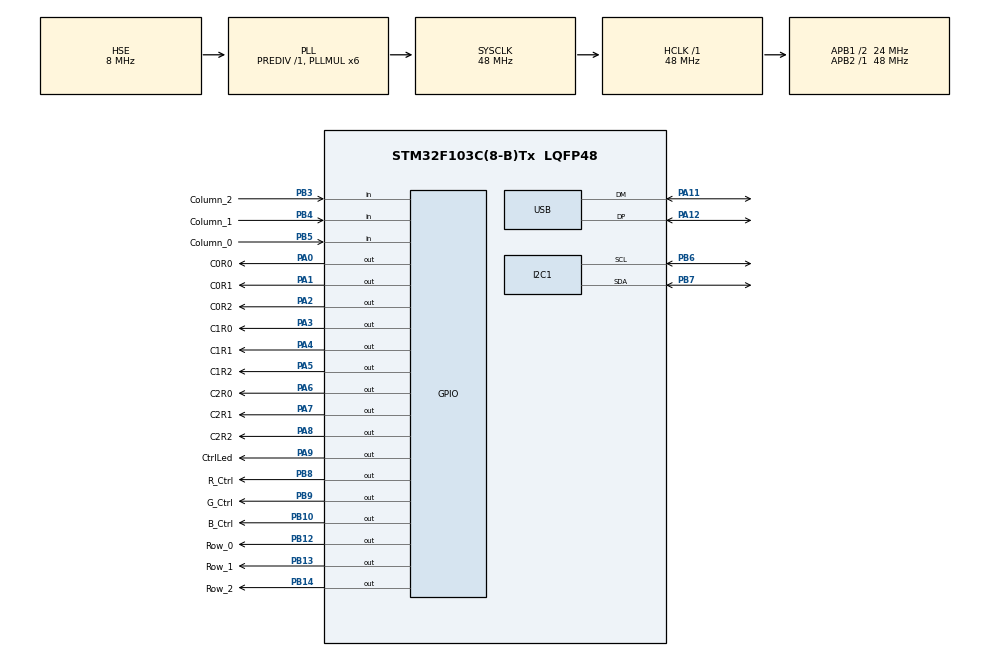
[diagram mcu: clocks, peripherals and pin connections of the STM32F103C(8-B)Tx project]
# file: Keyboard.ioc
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I2C1.I2C_Mode=I2C_Fast
Mcu.Family=STM32F1
Mcu.Name=STM32F103C(8-B)Tx
Mcu.Package=LQFP48
NVIC.PriorityGroup=NVIC_PRIORITYGROUP_4
NVIC.TIM1_UP_IRQn=true\:0\:0\:false\:false\:true\:true\:true
NVIC.USB_LP_CAN1_RX0_IRQn=true\:0\:0\:false\:false\:true\:false\:true
PA0-WKUP.GPIO_Label=C0R0
PA0-WKUP.GPIO_ModeDefaultOutputPP=GPIO_MODE_OUTPUT_PP
PA0-WKUP.GPIO_PuPd=GPIO_PULLDOWN
PA0-WKUP.PinState=GPIO_PIN_RESET
PA0-WKUP.Signal=GPIO_Output
PA1.GPIO_Label=C0R1
PA1.GPIO_PuPd=GPIO_PULLDOWN
PA1.Signal=GPIO_Output
PA11.Mode=Device
PA11.Signal=USB_DM
PA12.Mode=Device
PA12.Signal=USB_DP
PA13.Mode=Serial_Wire
PA13.Signal=SYS_JTMS-SWDIO
PA14.Mode=Serial_Wire
PA14.Signal=SYS_JTCK-SWCLK
PA2.GPIO_Label=C0R2
PA2.GPIO_PuPd=GPIO_PULLDOWN
PA2.Signal=GPIO_Output
PA3.GPIO_Label=C1R0
PA3.GPIO_ModeDefaultOutputPP=GPIO_MODE_OUTPUT_PP
PA3.GPIO_PuPd=GPIO_PULLDOWN
PA3.PinState=GPIO_PIN_RESET
PA3.Signal=GPIO_Output
PA4.GPIO_Label=C1R1
PA4.GPIO_PuPd=GPIO_PULLDOWN
PA4.Signal=GPIO_Output
PA5.GPIO_Label=C1R2
PA5.GPIO_PuPd=GPIO_PULLDOWN
PA5.Signal=GPIO_Output
PA6.GPIO_Label=C2R0
PA6.GPIO_PuPd=GPIO_PULLDOWN
PA6.Signal=GPIO_Output
PA7.GPIO_Label=C2R1
PA7.GPIO_PuPd=GPIO_PULLDOWN
PA7.Signal=GPIO_Output
PA8.GPIO_Label=C2R2
PA8.GPIO_PuPd=GPIO_PULLDOWN
PA8.Signal=GPIO_Output
PA9.GPIO_Label=CtrlLed
PA9.GPIO_PuPd=GPIO_PULLDOWN
PA9.Signal=GPIO_Output
PB10.GPIO_Label=B_Ctrl
PB10.GPIO_PuPd=GPIO_PULLDOWN
PB10.PinState=GPIO_PIN_RESET
PB10.Signal=GPIO_Output
PB12.GPIO_Label=Row_0
PB12.GPIO_PuPd=GPIO_PULLUP
PB12.Signal=GPIO_Output
PB13.GPIO_Label=Row_1
PB13.GPIO_PuPd=GPIO_PULLUP
PB13.PinState=GPIO_PIN_RESET
PB13.Signal=GPIO_Output
PB14.GPIO_Label=Row_2
PB14.GPIO_PuPd=GPIO_PULLUP
PB14.Signal=GPIO_Output
PB3.GPIO_Label=Column_2
PB3.GPIO_PuPd=GPIO_PULLDOWN
PB3.Signal=GPIO_Input
PB4.GPIO_Label=Column_1
PB4.GPIO_PuPd=GPIO_PULLDOWN
PB4.Signal=GPIO_Input
PB5.GPIO_Label=Column_0
PB5.GPIO_PuPd=GPIO_PULLDOWN
PB5.Signal=GPIO_Input
PB6.Mode=I2C
PB6.Signal=I2C1_SCL
PB7.Mode=I2C
PB7.Signal=I2C1_SDA
PB8.GPIO_Label=R_Ctrl
PB8.GPIO_PuPd=GPIO_PULLDOWN
PB8.PinState=GPIO_PIN_RESET
PB8.Signal=GPIO_Output
PB9.GPIO_Label=G_Ctrl
PB9.GPIO_PuPd=GPIO_PULLDOWN
PB9.PinState=GPIO_PIN_RESET
PB9.Signal=GPIO_Output
PD0-OSC_IN.Mode=HSE-External-Oscillator
PD0-OSC_IN.Signal=RCC_OSC_IN
PD1-OSC_OUT.Mode=HSE-External-Oscillator
PD1-OSC_OUT.Signal=RCC_OSC_OUT
ProjectManager.HeapSize=0x200
ProjectManager.StackSize=0x400
ProjectManager.TargetToolchain=STM32CubeIDE
RCC.AHBFreq_Value=48000000
RCC.APB1CLKDivider=RCC_HCLK_DIV2
RCC.APB1Freq_Value=24000000
RCC.APB1TimFreq_Value=48000000
RCC.APB2Freq_Value=48000000
RCC.APB2TimFreq_Value=48000000
RCC.HCLKFreq_Value=48000000
RCC.PLLMUL=RCC_PLL_MUL6
RCC.SYSCLKFreq_VALUE=48000000
RCC.SYSCLKSource=RCC_SYSCLKSOURCE_PLLCLK
RCC.USBFreq_Value=48000000
TIM1.Period=1
TIM1.Prescaler=48000
USB_DEVICE.CLASS_NAME_FS=HID
USB_DEVICE.VirtualMode=Hid
USB_DEVICE.VirtualModeFS=Hid_FS
VP_TIM1_VS_ClockSourceINT.Mode=Internal
VP_USB_DEVICE_VS_USB_DEVICE_HID_FS.Mode=HID_FS
board=custom

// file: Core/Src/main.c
/* USER CODE BEGIN Header */
/**
  ******************************************************************************
  * @file           : main.c
  * @brief          : Main program body
  ******************************************************************************
  * @attention
  *
  * <h2><center>&copy; Copyright (c) 2020 STMicroelectronics.
  * All rights reserved.</center></h2>
  *
  * This software component is licensed by ST under BSD 3-Clause license,
  * the "License"; You may not use this file except in compliance with the
  * License. You may obtain a copy of the License at:
  *                        opensource.org/licenses/BSD-3-Clause
  *
  ******************************************************************************
  */
/* USER CODE END Header */

#include "main.h"
#include "usb_device.h"

/* USER CODE BEGIN Includes */
#include "ssd1306.h"
#include "keyPad.h"
#include "usbd_hid.h"
/* USER CODE END Includes */

I2C_HandleTypeDef hi2c1;

TIM_HandleTypeDef htim1;

void SystemClock_Config(void);
static void MX_GPIO_Init(void);
static void MX_I2C1_Init(void);
static void MX_TIM1_Init(void);

int main(void)
{

  /* MCU Configuration--------------------------------------------------------*/

  /* Reset of all peripherals, Initializes the Flash interface and the Systick. */
  HAL_Init();

  /* USER CODE BEGIN Init */
  /* Create keypad instance */
  TM_KEYPAD_Button_t Keypad_Button;
  /* USER CODE END Init */

  /* Configure the system clock */
  SystemClock_Config();

  /* Initialize all configured peripherals */
  MX_GPIO_Init();
  MX_I2C1_Init();
  MX_TIM1_Init();
  MX_USB_DEVICE_Init();
  /* USER CODE BEGIN 2 */
  ssd1306_Init();
  TM_KEYPAD_Init();
  HAL_TIM_Base_Start_IT(&htim1);		//Enable timer interrupt
  extern USBD_HandleTypeDef hUsbDeviceFS;
  uint8_t HID_Buffer[8] = {0};
  /* USER CODE END 2 */

  /* Infinite loop */
  /* USER CODE BEGIN WHILE */
  while (1)
  {
	  /* Read keyboard data */
	  Keypad_Button = TM_KEYPAD_Read();

	  /* Keypad was pressed */
	  if (Keypad_Button != TM_KEYPAD_Button_NOPRESSED) {/* Keypad is pressed */
		  switch (Keypad_Button) {
		  	  case TM_KEYPAD_Button_0:        /* Button 0 pressed */
		  		  HID_Buffer[0] = 2;			// shift
		  		  HID_Buffer[2] = 7;			// d
		  		  USBD_HID_SendReport(&hUsbDeviceFS, HID_Buffer, 8);
		  		  HAL_Delay(20);

		  		  HID_Buffer[0] = 0;
		  		  HID_Buffer[2] = 0;
		  		  USBD_HID_SendReport(&hUsbDeviceFS, HID_Buffer, 8);

		  		  ssd1306_Fill(Black);
		  		  ssd1306_SetCursor(2, 0);
		  		  ssd1306_WriteString("  Cem", Font_16x26, White);
		  		  ssd1306_SetCursor(2, 26);
		  		  ssd1306_WriteString("Row 0:", Font_11x18, White);
		  		  ssd1306_SetCursor(75, 26);
		  		  ssd1306_WriteString("0", Font_11x18, White);
		  		  ssd1306_UpdateScreen();
		  		  HAL_GPIO_TogglePin(R_Ctrl_GPIO_Port, R_Ctrl_Pin);
	              break;
		  	  case TM_KEYPAD_Button_1:        /* Button 1 pressed */
		  		  ssd1306_Fill(Black);
		  		  ssd1306_SetCursor(2, 0);
		  		  ssd1306_WriteString("  Cem", Font_16x26, White);
		  		  ssd1306_SetCursor(2, 26);
		  		  ssd1306_WriteString("Row 0:", Font_11x18, White);
		  		  ssd1306_SetCursor(75, 26);
		  		  ssd1306_WriteString("1", Font_11x18, White);
		  		  ssd1306_UpdateScreen();
		  		  HAL_GPIO_TogglePin(G_Ctrl_GPIO_Port, G_Ctrl_Pin);
	              break;
		  	  case TM_KEYPAD_Button_2:        /* Button 2 pressed */
		  		  ssd1306_Fill(Black);
		  		  ssd1306_SetCursor(2, 0);
		  		  ssd1306_WriteString("  Cem", Font_16x26, White);
		  		  ssd1306_SetCursor(2, 26);
		  		  ssd1306_WriteString("Row 0:", Font_11x18, White);
		  		  ssd1306_SetCursor(75, 26);
		  		  ssd1306_WriteString("2", Font_11x18, White);
		  		  ssd1306_UpdateScreen();
		  		  HAL_GPIO_TogglePin(B_Ctrl_GPIO_Port, B_Ctrl_Pin);
	              break;
		  	  case TM_KEYPAD_Button_3:        /* Button 3 pressed */
		  		  ssd1306_Fill(Black);
		  		  ssd1306_SetCursor(2, 0);
		  		  ssd1306_WriteString("  Cem", Font_16x26, White);
		  		  ssd1306_SetCursor(2, 26);
		  		  ssd1306_WriteString("Row 1:", Font_11x18, White);
		  		  ssd1306_SetCursor(75, 26);
		  		  ssd1306_WriteString("0", Font_11x18, White);
		  		  ssd1306_UpdateScreen();
		  		  HAL_GPIO_TogglePin(R_Ctrl_GPIO_Port, R_Ctrl_Pin);
	              break;
		  	  case TM_KEYPAD_Button_4:        /* Button 4 pressed */
		  		  ssd1306_Fill(Black);
		  		  ssd1306_SetCursor(2, 0);
		  		  ssd1306_WriteString("  Cem", Font_16x26, White);
		  		  ssd1306_SetCursor(2, 26);
		  		  ssd1306_WriteString("Row 1:", Font_11x18, White);
		  		  ssd1306_SetCursor(75, 26);
		  		  ssd1306_WriteString("1", Font_11x18, White);
		  		  ssd1306_UpdateScreen();
		  		  HAL_GPIO_TogglePin(G_Ctrl_GPIO_Port, G_Ctrl_Pin);
	              break;
		  	  case TM_KEYPAD_Button_5:        /* Button 5 pressed */
		  		  ssd1306_Fill(Black);
		  		  ssd1306_SetCursor(2, 0);
		  		  ssd1306_WriteString("  Cem", Font_16x26, White);
		  		  ssd1306_SetCursor(2, 26);
		  		  ssd1306_WriteString("Row 1:", Font_11x18, White);
		  		  ssd1306_SetCursor(75, 26);
		  		  ssd1306_WriteString("2", Font_11x18, White);
		  		  ssd1306_UpdateScreen();
		  		  HAL_GPIO_TogglePin(B_Ctrl_GPIO_Port, B_Ctrl_Pin);
	              break;
		  	  case TM_KEYPAD_Button_6:        /* Button 6 pressed */
		  		  ssd1306_Fill(Black);
		  		  ssd1306_SetCursor(2, 0);
		  		  ssd1306_WriteString("  Cem", Font_16x26, White);
		  		  ssd1306_SetCursor(2, 26);
		  		  ssd1306_WriteString("Row 2:", Font_11x18, White);
		  		  ssd1306_SetCursor(75, 26);
		  		  ssd1306_WriteString("0", Font_11x18, White);
		  		  ssd1306_UpdateScreen();
		  		  HAL_GPIO_TogglePin(R_Ctrl_GPIO_Port, R_Ctrl_Pin);
	              break;
		  	  case TM_KEYPAD_Button_7:        /* Button 7 pressed */
		  		  ssd1306_Fill(Black);
		  		  ssd1306_SetCursor(2, 0);
		  		  ssd1306_WriteString("  Cem", Font_16x26, White);
		  		  ssd1306_SetCursor(2, 26);
		  		  ssd1306_WriteString("Row 2:", Font_11x18, White);
		  		  ssd1306_SetCursor(75, 26);
		  		  ssd1306_WriteString("1", Font_11x18, White);
		  		  ssd1306_UpdateScreen();
		  		  HAL_GPIO_TogglePin(G_Ctrl_GPIO_Port, G_Ctrl_Pin);
	              break;
		  	  case TM_KEYPAD_Button_8:        /* Button 7 pressed */
		  		  ssd1306_Fill(Black);
		  		  ssd1306_SetCursor(2, 0);
		  		  ssd1306_WriteString("  Cem", Font_16x26, White);
		  		  ssd1306_SetCursor(2, 26);
		  		  ssd1306_WriteString("Row 2:", Font_11x18, White);
		  		  ssd1306_SetCursor(75, 26);
		  		  ssd1306_WriteString("2", Font_11x18, White);
		  		  ssd1306_UpdateScreen();
		  		  HAL_GPIO_TogglePin(B_Ctrl_GPIO_Port, B_Ctrl_Pin);
		  		  break;
		  	  default:
	              break;
		  }
	  }

//	  HAL_Delay(100);
//	  HAL_GPIO_TogglePin(R_Ctrl_GPIO_Port, R_Ctrl_Pin);
//	  HAL_Delay(100);
//	  HAL_GPIO_TogglePin(G_Ctrl_GPIO_Port, G_Ctrl_Pin);
//	  HAL_Delay(100);
//	  HAL_GPIO_TogglePin(B_Ctrl_GPIO_Port, B_Ctrl_Pin);
//	  HAL_Delay(100);

    /* USER CODE END WHILE */

  }
}

void SystemClock_Config(void)
{
  RCC_OscInitTypeDef RCC_OscInitStruct = {0};
  RCC_ClkInitTypeDef RCC_ClkInitStruct = {0};
  RCC_PeriphCLKInitTypeDef PeriphClkInit = {0};

  /** Initializes the CPU, AHB and APB busses clocks
  */
  RCC_OscInitStruct.OscillatorType = RCC_OSCILLATORTYPE_HSE;
  RCC_OscInitStruct.HSEState = RCC_HSE_ON;
  RCC_OscInitStruct.HSEPredivValue = RCC_HSE_PREDIV_DIV1;
  RCC_OscInitStruct.HSIState = RCC_HSI_ON;
  RCC_OscInitStruct.PLL.PLLState = RCC_PLL_ON;
  RCC_OscInitStruct.PLL.PLLSource = RCC_PLLSOURCE_HSE;
  RCC_OscInitStruct.PLL.PLLMUL = RCC_PLL_MUL6;
  if (HAL_RCC_OscConfig(&RCC_OscInitStruct) != HAL_OK)
  {
    Error_Handler();
  }
  /** Initializes the CPU, AHB and APB busses clocks
  */
  RCC_ClkInitStruct.ClockType = RCC_CLOCKTYPE_HCLK|RCC_CLOCKTYPE_SYSCLK
                              |RCC_CLOCKTYPE_PCLK1|RCC_CLOCKTYPE_PCLK2;
  RCC_ClkInitStruct.SYSCLKSource = RCC_SYSCLKSOURCE_PLLCLK;
  RCC_ClkInitStruct.AHBCLKDivider = RCC_SYSCLK_DIV1;
  RCC_ClkInitStruct.APB1CLKDivider = RCC_HCLK_DIV2;
  RCC_ClkInitStruct.APB2CLKDivider = RCC_HCLK_DIV1;

  if (HAL_RCC_ClockConfig(&RCC_ClkInitStruct, FLASH_LATENCY_1) != HAL_OK)
  {
    Error_Handler();
  }
  PeriphClkInit.PeriphClockSelection = RCC_PERIPHCLK_USB;
  PeriphClkInit.UsbClockSelection = RCC_USBCLKSOURCE_PLL;
  if (HAL_RCCEx_PeriphCLKConfig(&PeriphClkInit) != HAL_OK)
  {
    Error_Handler();
  }
}

static void MX_I2C1_Init(void)
{

  hi2c1.Instance = I2C1;
  hi2c1.Init.ClockSpeed = 400000;
  hi2c1.Init.DutyCycle = I2C_DUTYCYCLE_2;
  hi2c1.Init.OwnAddress1 = 0;
  hi2c1.Init.AddressingMode = I2C_ADDRESSINGMODE_7BIT;
  hi2c1.Init.DualAddressMode = I2C_DUALADDRESS_DISABLE;
  hi2c1.Init.OwnAddress2 = 0;
  hi2c1.Init.GeneralCallMode = I2C_GENERALCALL_DISABLE;
  hi2c1.Init.NoStretchMode = I2C_NOSTRETCH_DISABLE;
  if (HAL_I2C_Init(&hi2c1) != HAL_OK)
  {
    Error_Handler();
  }

}

static void MX_TIM1_Init(void)
{

  TIM_ClockConfigTypeDef sClockSourceConfig = {0};
  TIM_MasterConfigTypeDef sMasterConfig = {0};

  htim1.Instance = TIM1;
  htim1.Init.Prescaler = 48000;
  htim1.Init.CounterMode = TIM_COUNTERMODE_UP;
  htim1.Init.Period = 1;
  htim1.Init.ClockDivision = TIM_CLOCKDIVISION_DIV1;
  htim1.Init.RepetitionCounter = 0;
  htim1.Init.AutoReloadPreload = TIM_AUTORELOAD_PRELOAD_DISABLE;
  if (HAL_TIM_Base_Init(&htim1) != HAL_OK)
  {
    Error_Handler();
  }
  sClockSourceConfig.ClockSource = TIM_CLOCKSOURCE_INTERNAL;
  if (HAL_TIM_ConfigClockSource(&htim1, &sClockSourceConfig) != HAL_OK)
  {
    Error_Handler();
  }
  sMasterConfig.MasterOutputTrigger = TIM_TRGO_RESET;
  sMasterConfig.MasterSlaveMode = TIM_MASTERSLAVEMODE_DISABLE;
  if (HAL_TIMEx_MasterConfigSynchronization(&htim1, &sMasterConfig) != HAL_OK)
  {
    Error_Handler();
  }

}

static void MX_GPIO_Init(void)
{
  GPIO_InitTypeDef GPIO_InitStruct = {0};

  /* GPIO Ports Clock Enable */
  __HAL_RCC_GPIOD_CLK_ENABLE();
  __HAL_RCC_GPIOA_CLK_ENABLE();
  __HAL_RCC_GPIOB_CLK_ENABLE();

  /*Configure GPIO pin Output Level */
  HAL_GPIO_WritePin(GPIOA, C0R0_Pin|C0R1_Pin|C0R2_Pin|C1R0_Pin
                          |C1R1_Pin|C1R2_Pin|C2R0_Pin|C2R1_Pin
                          |C2R2_Pin|CtrlLed_Pin, GPIO_PIN_RESET);

  /*Configure GPIO pin Output Level */
  HAL_GPIO_WritePin(GPIOB, B_Ctrl_Pin|Row_0_Pin|Row_1_Pin|Row_2_Pin
                          |R_Ctrl_Pin|G_Ctrl_Pin, GPIO_PIN_RESET);

  /*Configure GPIO pins : C0R0_Pin C0R1_Pin C0R2_Pin C1R0_Pin
                           C1R1_Pin C1R2_Pin C2R0_Pin C2R1_Pin
                           C2R2_Pin CtrlLed_Pin */
  GPIO_InitStruct.Pin = C0R0_Pin|C0R1_Pin|C0R2_Pin|C1R0_Pin
                          |C1R1_Pin|C1R2_Pin|C2R0_Pin|C2R1_Pin
                          |C2R2_Pin|CtrlLed_Pin;
  GPIO_InitStruct.Mode = GPIO_MODE_OUTPUT_PP;
  GPIO_InitStruct.Pull = GPIO_PULLDOWN;
  GPIO_InitStruct.Speed = GPIO_SPEED_FREQ_LOW;
  HAL_GPIO_Init(GPIOA, &GPIO_InitStruct);

  /*Configure GPIO pins : B_Ctrl_Pin R_Ctrl_Pin G_Ctrl_Pin */
  GPIO_InitStruct.Pin = B_Ctrl_Pin|R_Ctrl_Pin|G_Ctrl_Pin;
  GPIO_InitStruct.Mode = GPIO_MODE_OUTPUT_PP;
  GPIO_InitStruct.Pull = GPIO_PULLDOWN;
  GPIO_InitStruct.Speed = GPIO_SPEED_FREQ_LOW;
  HAL_GPIO_Init(GPIOB, &GPIO_InitStruct);

  /*Configure GPIO pins : Row_0_Pin Row_1_Pin Row_2_Pin */
  GPIO_InitStruct.Pin = Row_0_Pin|Row_1_Pin|Row_2_Pin;
  GPIO_InitStruct.Mode = GPIO_MODE_OUTPUT_PP;
  GPIO_InitStruct.Pull = GPIO_PULLUP;
  GPIO_InitStruct.Speed = GPIO_SPEED_FREQ_LOW;
  HAL_GPIO_Init(GPIOB, &GPIO_InitStruct);

  /*Configure GPIO pins : Column_2_Pin Column_1_Pin Column_0_Pin */
  GPIO_InitStruct.Pin = Column_2_Pin|Column_1_Pin|Column_0_Pin;
  GPIO_InitStruct.Mode = GPIO_MODE_INPUT;
  GPIO_InitStruct.Pull = GPIO_PULLDOWN;
  HAL_GPIO_Init(GPIOB, &GPIO_InitStruct);

}

/* USER CODE BEGIN 4 */
void HAL_TIM_PeriodElapsedCallback(TIM_HandleTypeDef *htim) {
	if (htim->Instance == TIM1) {		// If the source is timer 1
		TM_KEYPAD_Update();				// update keys pressed
	}
}

/* USER CODE END 4 */

void Error_Handler(void)
{
}

/************************ (C) COPYRIGHT STMicroelectronics *****END OF FILE****/
